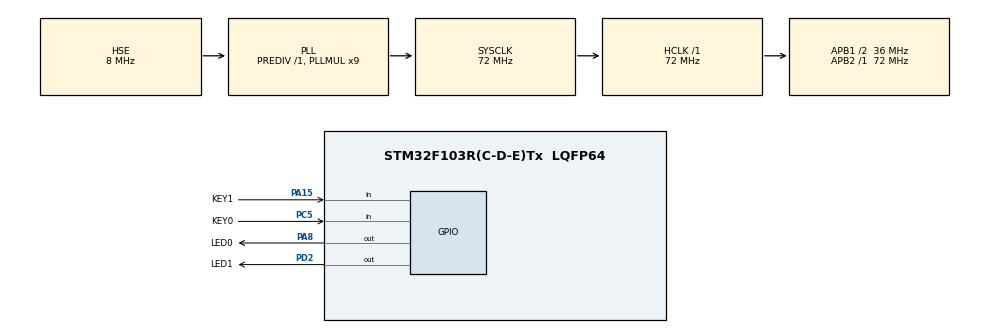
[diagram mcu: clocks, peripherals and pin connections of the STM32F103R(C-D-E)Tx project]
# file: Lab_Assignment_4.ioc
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Mcu.Family=STM32F1
Mcu.Name=STM32F103R(C-D-E)Tx
Mcu.Package=LQFP64
NVIC.PriorityGroup=NVIC_PRIORITYGROUP_4
NVIC.TIM2_IRQn=true\:0\:0\:false\:false\:true\:true\:true\:true
NVIC.TIM3_IRQn=true\:0\:0\:false\:false\:true\:true\:true\:true
NVIC.TIM5_IRQn=true\:0\:0\:false\:false\:true\:true\:true\:true
PA13.Mode=Serial_Wire
PA13.Signal=SYS_JTMS-SWDIO
PA14.Mode=Serial_Wire
PA14.Signal=SYS_JTCK-SWCLK
PA15.GPIO_Label=KEY1
PA15.GPIO_PuPd=GPIO_PULLUP
PA15.Signal=GPIO_Input
PA8.GPIO_Label=LED0
PA8.Signal=GPIO_Output
PC5.GPIO_Label=KEY0
PC5.GPIO_PuPd=GPIO_PULLUP
PC5.Signal=GPIO_Input
PD0-OSC_IN.Mode=HSE-External-Oscillator
PD0-OSC_IN.Signal=RCC_OSC_IN
PD1-OSC_OUT.Mode=HSE-External-Oscillator
PD1-OSC_OUT.Signal=RCC_OSC_OUT
PD2.GPIO_Label=LED1
PD2.Signal=GPIO_Output
ProjectManager.HeapSize=0x200
ProjectManager.StackSize=0x400
ProjectManager.TargetToolchain=STM32CubeIDE
RCC.AHBFreq_Value=72000000
RCC.APB1CLKDivider=RCC_HCLK_DIV2
RCC.APB1Freq_Value=36000000
RCC.APB1TimFreq_Value=72000000
RCC.APB2Freq_Value=72000000
RCC.APB2TimFreq_Value=72000000
RCC.HCLKFreq_Value=72000000
RCC.PLLMUL=RCC_PLL_MUL9
RCC.PLLSourceVirtual=RCC_PLLSOURCE_HSE
RCC.SYSCLKFreq_VALUE=72000000
RCC.SYSCLKSource=RCC_SYSCLKSOURCE_PLLCLK
RCC.USBFreq_Value=72000000
TIM2.Period=999
TIM2.Prescaler=7199
TIM3.Period=19999
TIM3.Prescaler=7199
TIM4.Period=65535
TIM4.Prescaler=71
TIM5.Period=9999
TIM5.Prescaler=7199
VP_TIM2_VS_ClockSourceINT.Mode=Internal
VP_TIM3_VS_ClockSourceINT.Mode=Internal
VP_TIM4_VS_ClockSourceINT.Mode=Internal
VP_TIM5_VS_ClockSourceINT.Mode=Internal
board=custom

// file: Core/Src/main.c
/* USER CODE BEGIN Header */
/**
  ******************************************************************************
  * @file           : main.c
  * @brief          : Main program body
  ******************************************************************************
  * @attention
  *
  * Copyright (c) 2024 STMicroelectronics.
  * All rights reserved.
  *
  * This software is licensed under terms that can be found in the LICENSE file
  * in the root directory of this software component.
  * If no LICENSE file comes with this software, it is provided AS-IS.
  *
  ******************************************************************************
  */
/* USER CODE END Header */
#include "main.h"
#include "tim.h"
#include "gpio.h"

/* USER CODE BEGIN Includes */
#include "lcd_v4.h"
#include "images.h"
#include "touch.h"
#include "24cxx.h"
#include <limits.h>
/* USER CODE END Includes */

/* USER CODE BEGIN PD */
#define LINE1 50
#define LINE2 100
#define LINE3 150
/* USER CODE END PD */

/* USER CODE BEGIN PV */
uint8_t mode = 0;
uint8_t mode_transition = 0;

uint16_t canvas_back[60][320];

int16_t canvas_speed = 120;
int16_t speed = 5;

int16_t x_main = 100;
int16_t y_main = 115;
int16_t x_main_last = 100;
int16_t x_main_dst = 100;
int16_t distance = 0;

int16_t x_bad_guy = 0;
int16_t y_bad_guy = 0;

uint16_t touch_index = 0;
uint16_t touch_index_last = 0;
uint16_t touch_list[50][2];
uint8_t scroll_active = 1;
uint8_t scroll_first = 1;
int8_t scroll_trend = 0;

uint8_t draw_usagi_now = 0;
uint8_t draw_canvas_now = 0;
uint8_t draw_finish_line_now = 0;
uint8_t update_timer = 0;

uint8_t up_pressed = 0;
uint8_t down_pressed = 0;
uint8_t jump_pressed = 0;

uint8_t going_up = 0;
uint8_t going_down = 0;
uint8_t jumping = 0;

uint8_t has_bad_guy = 0;

uint16_t sec_count = 0;

uint8_t hit = 0;

uint8_t end = 0;

/* USER CODE END PV */

void SystemClock_Config(void);

/* USER CODE BEGIN 0 */
void HAL_Delay_us(uint32_t us) {
	__HAL_TIM_SET_COUNTER(&htim4, 0);
	while (__HAL_TIM_GET_COUNTER(&htim4) < us);
}

void lcd_draw_point_ex(uint16_t x, uint16_t y, uint32_t color) {
	if (color == BLACK) {
		if (x > 58) {
			lcd_fast_draw_point(x, y, g_back_color);
		}
	} else {
		lcd_fast_draw_point(x, y, color);
	}
}

void lcd_show_time() {
	uint16_t x = 132, y = 300;
	lcd_show_char(x + 16, y, ':', 16, 0, BLACK);
	lcd_show_num(x, y, sec_count / 60, 2, 16, BLACK);
	if (sec_count / 60 < 10) {
	  lcd_show_num(x, y, 0, 1, 16, BLACK);
	}
	lcd_show_num(x + 24, y, sec_count % 60, 2, 16, BLACK);
	if (sec_count % 60 < 10) {
	  lcd_show_num(x + 24, y, 0, 1, 16, BLACK);
	}
}

void lcd_show_image(int16_t x, int16_t y, const uint8_t* image, uint8_t flip) {
	const uint8_t *pointer = image;
	int16_t width = (*(pointer + 3) << 8) | (*(pointer + 2));
	int16_t height = (*(pointer + 5) << 8) | (*(pointer + 4));
	pointer += 8;
	uint32_t color;
	if (flip == 1) {
		// [x, x + height)
		for (int16_t xx = x; xx < x + height; xx++) {
			// [y, y + width - 1]
			for (int16_t yy = y; yy < y + width; yy++) {
				if (yy >= 0 && yy < lcddev.height) {
					color = ((*(pointer + 1)) << 8) | (*pointer);
					lcd_draw_point_ex(xx, yy, color);
				}
				pointer += 2;
			}
		}
	} else {
		// [x, x + height)
		for (int16_t xx = x; xx < x + height; xx++) {
			// [y, y + width - 1]
			for (int16_t yy = y + width - 1; yy >= y; yy--) {
				if (yy >= 0 && yy < lcddev.height) {
					color = ((*(pointer + 1)) << 8) | (*pointer);
					lcd_draw_point_ex(xx, yy, color);
				}
				pointer += 2;
			}
		}
	}
}

void lcd_show_image_RLE(int16_t x, int16_t y, const uint8_t* image, uint8_t flip, uint8_t wrap_around) {
	const uint8_t *pointer = image;
	int16_t width = (*(pointer + 2) << 8) | *(pointer + 3);
	int16_t height = (*(pointer + 4) << 8) | *(pointer + 5);
	uint16_t color = 0;
	uint8_t count = 0;
	uint8_t repeating = 1;

	pointer += 6;

	int16_t x_start = x;
	int16_t x_end = x + height;
	int16_t x_step = 1;

	int16_t y_start = flip == 1 ? y : (y + width - 1);
	int16_t y_end = flip == 1? y + width : y;
	int16_t y_step = flip == 1? 1 : -1;

	uint8_t in_screen;

	for (int16_t xx = x_start; xx < x_end; xx += x_step) {
		set_cursor_x(xx);
		for (int16_t yy = y_start; (flip == 1? yy < y_end : yy >= y_end); yy += y_step) {
			in_screen = yy >= 0 && yy < lcddev.height;

			// new count value incoming
			if (count == 0) {
				// non-repeating sequence
				if ((*pointer | 0x7F) == 0xFF) {
					count = (*pointer & 0x7F);
					pointer++;		// move pointer to the next color value
					repeating = 0;
				}
				// repeating sequence
				else {
					count = *pointer;
					color = ((*(pointer + 1)) << 8) | *(pointer + 2);
					pointer += 3;	// move pointer to the start of next count value
					repeating = 1;
				}
			}

			if (repeating == 1) {
				if (in_screen) {
					set_cursor_y(yy);
					lcd_ram();
					if (color == BLACK) {
						if (xx > 58) {
							lcd_wr_data(g_back_color);

						} else {
							lcd_wr_data(canvas_back[xx][yy]);
						}
					} else {
						lcd_wr_data(color);
					}
				} else if (wrap_around) {
					set_cursor_y(((yy + lcddev.height) % lcddev.height));
					lcd_ram();
					if (color == BLACK) {
						if (xx > 58) {
							lcd_wr_data(g_back_color);

						} else {
							lcd_wr_data(canvas_back[xx][((yy + lcddev.height) % lcddev.height)]);
						}
					} else {
						lcd_wr_data(color);
					}
				}
				count--;
			} else {
				if (in_screen) {
					color = ((*pointer) << 8) | *(pointer + 1);
					set_cursor_y(yy);
					lcd_ram();
					if (color == BLACK) {
						if (xx > 58) {
							lcd_wr_data(g_back_color);
						} else {
							lcd_wr_data(canvas_back[xx][yy]);
						}
					} else {
						lcd_wr_data(color);
					}
				} else if (wrap_around) {
					color = ((*pointer) << 8) | *(pointer + 1);
					set_cursor_y(((yy + lcddev.height) % lcddev.height));
					lcd_ram();
					if (color == BLACK) {
						if (xx > 58) {
							lcd_wr_data(g_back_color);
						} else {
							lcd_wr_data(canvas_back[xx][((yy + lcddev.height) % lcddev.height)]);
						}
					} else {
						lcd_wr_data(color);
					}
				}
				pointer += 2;
				count--;
			}

		}
	}
}

void lcd_fill_ex(int16_t sx, int16_t sy, int16_t ex, int16_t ey, uint32_t color, uint8_t hide) {
    for (int16_t x = sx; x < ex; x++) {
        set_cursor_x(x % lcddev.width);
        for (int16_t y = sy; y < ey; y++) {
            int16_t wrapped_y = (y + lcddev.height) % lcddev.height;
			if (hide == 0 || (x_main != LINE2 || wrapped_y < y_main || wrapped_y > y_main + 60)) {
				set_cursor_y(wrapped_y);
				lcd_ram();
				lcd_wr_data(color);
			}
        }
    }
}

void draw_canvas() {
	static int16_t offset = 0;

	const uint8_t *pointer = mode == 0 ? canvas : sky;
	int16_t width = 320;
	int16_t height = 60;
	uint16_t color = 0;
	uint8_t count = 0;
	uint8_t repeating = 1;

	pointer += 6;

	uint8_t in_screen;

	for (int16_t xx = 0; xx < height; xx++) {
		set_cursor_x(xx);
		for (int16_t yy = offset + width - 1; yy >= offset; yy--) {
			in_screen = yy >= 0 && yy < lcddev.height;

			// new count value incoming
			if (count == 0) {
				// non-repeating sequence
				if ((*pointer | 0x7F) == 0xFF) {
					count = (*pointer & 0x7F);
					pointer++;		// move pointer to the next color value
					repeating = 0;
				}
				// repeating sequence
				else {
					count = *pointer;
					color = ((*(pointer + 1)) << 8) | *(pointer + 2);
					pointer += 3;	// move pointer to the start of next count value
					repeating = 1;
				}
			}

			uint16_t y_print = in_screen ? yy : ((yy + lcddev.height) % lcddev.height);
			if (repeating == 1) {
				if (canvas_back[xx][y_print] != color) {
					set_cursor_y(y_print);
					lcd_ram();
					lcd_wr_data(color);
					canvas_back[xx][y_print] = color;
				}
				count--;
			} else {
				color = ((*pointer) << 8) | *(pointer + 1);
				if (canvas_back[xx][y_print] != color) {
					set_cursor_y(y_print);
					lcd_ram();
					lcd_wr_data(color);
					canvas_back[xx][y_print] = color;
				}
				pointer += 2;
				count--;
			}
		}
	}

	if (mode == 0) {
		// use lcd_fill in a for loop to draw the black blocks
		static int16_t offset_track = 0;
		offset_track += 3 * speed;
		if (offset_track <= -320) {
			offset_track += 320;
		} else if (offset_track >= 320) {
			offset_track -= 320;
		}
		for (int16_t i = -20; i < 300; i += 20) {
			int16_t y_start = offset_track + i;
			int16_t y_end = offset_track + i + 20;
			uint32_t block_color = i % 40 == 0 ? BROWN : g_back_color;
			// draw the block by for loop
			lcd_fill_ex(125, y_start, 127, y_end, block_color, 1);
			lcd_fill_ex(175, y_start, 177, y_end, block_color, 0);
		}
	}

	offset += 3 * speed;
	if (offset <= -320) {
		offset += 320;
	} else if (offset >= 320) {
		offset -= 320;
	}
}

void draw_main() {
	uint8_t flip = speed > 0 ? 0 : 1;
	if (mode == 0) {
		if (jumping == 0) {
			if (speed >= 4 || speed <= -4) {
				static uint8_t run_state = 1;
				switch(run_state) {
					case 1:
						lcd_show_image_RLE(x_main, y_main, usagi_run_1, flip, 1);
						break;
					case 2:
						lcd_show_image_RLE(x_main, y_main, usagi_run_2, flip, 1);
						break;
					case 3:
						lcd_show_image_RLE(x_main, y_main, usagi_run_3, flip, 1);
						break;
					case 4:
						lcd_show_image_RLE(x_main, y_main, usagi_run_2, flip, 1);
						break;
				}
				run_state = run_state == 4 ? 1 : (run_state + 1);
			} else {
				static uint8_t walk_state = 1;
				switch(walk_state) {
					case 1:
						lcd_show_image_RLE(x_main, y_main, usagi_walk_1, flip, 1);
						break;
					case 2:
						lcd_show_image_RLE(x_main, y_main, usagi_walk_2, flip, 1);
						break;
					case 3:
						lcd_show_image_RLE(x_main, y_main, usagi_walk_3, flip, 1);
						break;
					case 4:
						lcd_show_image_RLE(x_main, y_main, usagi_walk_2, flip, 1);
						break;
				}
				walk_state = walk_state == 4 ? 1 : (walk_state + 1);
			}
		} else {
			lcd_show_image_RLE(x_main, y_main, usagi_jump, flip, 1);
		}
	} else {
		if (hit == 0) {
			static uint8_t fly_state = 1;
			if (fly_state == 1) {
				// clear the previous image
				lcd_fill(x_main - 13, y_main, x_main + 3, y_main + 65, g_back_color);
				lcd_show_image_RLE(x_main + 3, y_main, hachi_flying, flip, 1);
			} else if (fly_state == 2) {
				// clear the previous image
				lcd_fill(x_main + 67, y_main, x_main + 83, y_main + 65, g_back_color);
				lcd_show_image_RLE(x_main - 3, y_main, hachi_flying, flip, 1);
			}
			fly_state = fly_state == 1 ? 2 : 1;
		} else {
			lcd_show_image_RLE(x_main, y_main, hachi_hit, flip, 1);
		}

	}

	if (x_main_dst < x_main || (x_main_dst == x_main && x_main_last > x_main)) {
		// Clear Usagi's feet when going up
		lcd_fill(x_main + 70, y_main, x_main + 120, y_main + 65, g_back_color);
	} else if (x_main_dst > x_main || (x_main_dst == x_main && x_main_last < x_main)) {
		// Clear Usagi's ears when going down
		lcd_fill(((x_main - 20 < 58) ? 58 : (x_main - 20)), y_main, (x_main < 58 ? 58 : x_main), y_main + 60, g_back_color);
		if (x_main <= 50) {
			int16_t clear_air_x_start = x_main - 20 < 0 ? 0 : (x_main - 20);
			int16_t clear_air_x_end = x_main;
			int16_t clear_air_y_start = speed >= 0 ? (y_main + 28) : y_main;
			int16_t clear_air_y_end = speed >= 0 ? (y_main + 60) : (y_main + 30);
			for (uint16_t x = clear_air_x_start; x < clear_air_x_end; x++) {
				set_cursor_x(x);
				for (uint16_t y = clear_air_y_start; y < clear_air_y_end; y++) {
					if (x < 58) {
						set_cursor_y(y);
						lcd_ram();
						lcd_wr_data(canvas_back[x][y]);
					} else {
						set_cursor_y(y);
						lcd_ram();
						lcd_wr_data(g_back_color);
					}
				}
			}
		}
	}
	x_main_last = x_main;
}

void clear_bad_guy() {
	int16_t clear_y_start = (y_bad_guy - 20 < 0) ? 0 : (y_bad_guy - 20);
	int16_t clear_y_end = (y_bad_guy + 86 >= 320) ? 320 : (y_bad_guy + 86);
	for (int16_t x = x_bad_guy; x < x_bad_guy + 70; x++) {
		set_cursor_x(x);
		for (int16_t y = clear_y_start; y < clear_y_end; y++) {
			if (x < 58) {
				set_cursor_y(y);
				lcd_ram();
				lcd_wr_data(canvas_back[x][y]);
			} else {
				set_cursor_y(y);
				lcd_ram();
				lcd_wr_data(g_back_color);
			}
		}
	}
}

void draw_bad_guy() {
	if (y_bad_guy >= 321 || y_bad_guy < -64) {
		has_bad_guy = 0;
		if (y_bad_guy >= 321) {
			// fill the left side of the screen with black
			lcd_fill(x_bad_guy, 305, x_bad_guy + 60, 320, g_back_color);
		}
		y_bad_guy = 0;
		clear_bad_guy();
	} else {
		if (mode == 0) {
			lcd_show_image_RLE(x_bad_guy, y_bad_guy, witch, 0, 0);
		} else {
			lcd_show_image_RLE(x_bad_guy, y_bad_guy, spider, 0, 0);
		}
		if (speed > 0) {
			int16_t clear_y_start = (y_bad_guy - 15 < 0) ? 0 : (y_bad_guy - 15);
			for (int16_t x = x_bad_guy; x < x_bad_guy + 70; x++) {
				set_cursor_x(x);
				for (int16_t y = clear_y_start; y < y_bad_guy; y++) {
					if (x < 58) {
						set_cursor_y(y);
						lcd_ram();
						lcd_wr_data(canvas_back[x][y]);
					} else {
						set_cursor_y(y);
						lcd_ram();
						lcd_wr_data(g_back_color);
					}
				}
			}
		} else if (speed < 0) {
			int16_t clear_y_start;
			int16_t clear_y_end;
			if (mode == 1) {
				clear_y_start = (y_bad_guy + 45 >= 320) ? 320 : (y_bad_guy + 45);
				clear_y_end = (y_bad_guy + 86 >= 320) ? 320 : (y_bad_guy + 86);
			} else {
				clear_y_start = (y_bad_guy + 65 >= 320) ? 320 : (y_bad_guy + 65);
				clear_y_end = (y_bad_guy + 86 >= 320) ? 320 : (y_bad_guy + 86);
			}

			for (int16_t x = x_bad_guy; x < x_bad_guy + 70; x++) {
				set_cursor_x(x);
				for (int16_t y = clear_y_start; y < clear_y_end; y++) {
					if (x < 58) {
						set_cursor_y(y);
						lcd_ram();
						lcd_wr_data(canvas_back[x][y]);
					} else {
						set_cursor_y(y);
						lcd_ram();
						lcd_wr_data(g_back_color);
					}
				}
			}
		}
		y_bad_guy += 3 * speed;
	}
}

void draw_finish_line() {
	static int16_t offset = 0;
	static int16_t offset_last = 0;
	if (offset >= 100) {
		draw_finish_line_now = 0;
		offset = 0;
		end = 1;
		return;
	}
	if (mode == 0) {
		lcd_fill(60, offset, 240, offset + 4, RED);
	} else {
		lcd_fill(60, offset, 240, offset + 4, WHITE);
	}
	if (offset != 0) {
		lcd_fill(60, offset_last, 240, offset_last + 4, g_back_color);
	}
	offset_last = offset;
	offset += 3 * speed;
}

void clear_main() {
	// remove Usagi from the screen
	int16_t clear_x_start = (x_main - 20 < 0) ? 0 : (x_main - 20);
	int16_t clear_x_end = x_main + 120;
	int16_t clear_y_start = (y_main - 15 < 0) ? 0 : (y_main - 15);
	int16_t clear_y_end = y_main + 65 > 320 ? 320 : (y_main + 65);
	for (int16_t x = clear_x_start; x < clear_x_end; x++) {
		set_cursor_x(x);
		for (int16_t y = clear_y_start; y < clear_y_end; y++) {
			if (x < 58) {
				set_cursor_y(y);
				lcd_ram();
				lcd_wr_data(canvas_back[x][y]);
			} else {
				set_cursor_y(y);
				lcd_ram();
				lcd_wr_data(g_back_color);
			}
		}
	}
}

uint8_t hit_obstacle() {
    if (x_main + 50 < x_bad_guy + 30 || x_bad_guy + 50 < x_main + 30) {
    	return 0;
    }
    if (mode == 0) {
        if (y_main + 60 < y_bad_guy || y_bad_guy + 60 < y_main) {
        	return 0;
        }
	} else {
		if (y_main + 55 < y_bad_guy || y_bad_guy + 45 < y_main) {
			return 0;
		}
	}

    return 1;
}

/* USER CODE END 0 */

int main(void)
{

  /* MCU Configuration--------------------------------------------------------*/

  /* Reset of all peripherals, Initializes the Flash interface and the Systick. */
  HAL_Init();

  /* Configure the system clock */
  SystemClock_Config();

  /* Initialize all configured peripherals */
  MX_GPIO_Init();
  MX_TIM4_Init();
  MX_TIM3_Init();
  MX_TIM2_Init();
  MX_TIM5_Init();
  /* USER CODE BEGIN 2 */
  // TIM4 is used to generate delay in us
  HAL_TIM_Base_Start(&htim4);
  // TIM3 is a timer for inertia
  HAL_TIM_Base_Start_IT(&htim3);

  HAL_TIM_Base_Start_IT(&htim2);

  HAL_TIM_Base_Start_IT(&htim5);

  lcd_init();
  tp_dev.init();
  g_back_color = 0xf7bb;
  lcd_clear(g_back_color);

  mode = 0;

//  update_canvas();
//  draw_canvas();

  uint16_t y_button_base = 310;
  lcd_draw_rectangle(220, y_button_base - 50, 235, y_button_base, BLACK);
  lcd_draw_rectangle(220, y_button_base - 110, 235, y_button_base - 60, BLUE);
  lcd_draw_rectangle(220, y_button_base - 300, 235, y_button_base - 250, RED);
  lcd_draw_line(223, y_button_base - 25, 232, y_button_base - 10, BLACK);
  lcd_draw_line(232, y_button_base - 40, 223, y_button_base - 25, BLACK);
  lcd_draw_line(232, y_button_base - 85, 223, y_button_base - 70, BLUE);
  lcd_draw_line(223, y_button_base - 100, 232, y_button_base - 85, BLUE);
  uint16_t x_touch;
  uint16_t y_touch;

  /* USER CODE END 2 */

  /* Infinite loop */
  /* USER CODE BEGIN WHILE */
  while (1)
  {
	  static uint8_t key0_pressed = 0;
	  static uint8_t key1_pressed = 0;
		if (HAL_GPIO_ReadPin(KEY0_GPIO_Port, KEY0_Pin) == GPIO_PIN_RESET && key0_pressed == 0) {
			key0_pressed = 1;
			mode_transition = 1;
			mode = 0;
		} else if (HAL_GPIO_ReadPin(KEY1_GPIO_Port, KEY1_Pin) == GPIO_PIN_RESET && key1_pressed == 0) {
			key1_pressed = 1;
			mode_transition = 1;
			mode = 1;
		} else {
			mode_transition = 0;
			key0_pressed = 0;
			key1_pressed = 0;
		}
		if (mode_transition == 1) {
			if (mode == 0) {
				g_back_color = 0xf7bb;
			} else {
				g_back_color = 0xb71e;
			}
			has_bad_guy = 0;
			sec_count = 0;
			distance = 0;
			speed = 5;
			x_main = 100;
			y_main = 115;
			x_main_last = 100;
			x_main_dst = 100;
			x_bad_guy = 0;
			lcd_show_time();
			lcd_clear(g_back_color);
			// reset canvas_back
			for (int16_t i = 0; i < 60; i++) {
				for (int16_t j = 0; j < 320; j++) {
					canvas_back[i][j] = g_back_color;
				}
			}
			lcd_draw_rectangle(220, y_button_base - 50, 235, y_button_base, BLACK);
			lcd_draw_rectangle(220, y_button_base - 110, 235, y_button_base - 60, BLUE);
			lcd_draw_rectangle(220, y_button_base - 300, 235, y_button_base - 250, RED);
			  lcd_draw_line(223, y_button_base - 25, 232, y_button_base - 10, BLACK);
			  lcd_draw_line(232, y_button_base - 40, 223, y_button_base - 25, BLACK);
			  lcd_draw_line(232, y_button_base - 85, 223, y_button_base - 70, BLUE);
			  lcd_draw_line(223, y_button_base - 100, 232, y_button_base - 85, BLUE);
		}
		if (end == 1) {
			lcd_clear(g_back_color);
			lcd_show_string(0, 0, 240, 16, 16, "Game Over", BLACK);
			lcd_show_string(0, 20, 240, 16, 16, "Time (in seconds):", BLACK);
			lcd_show_num(140, 20, sec_count, 5, 16, BLACK);
			if (sec_count < 25) {
				lcd_show_string(0, 40, 240, 16, 16, "Very Fast!", BLACK);
			} else if (sec_count < 30) {
				lcd_show_string(0, 40, 240, 16, 16, "Not Bad!", BLACK);
			} else {
				lcd_show_string(0, 40, 240, 16, 16, "Too Slow", BLACK);
			}
			HAL_Delay(5000);
			end = 0;
			sec_count = 0;
			distance = 0;
			speed = 5;
			x_main = 100;
			y_main = 115;
			x_main_last = 100;
			x_main_dst = 100;
			y_bad_guy = 0;
			touch_index = 0;
			touch_index_last = 0;
			scroll_active = 1;
			scroll_first = 1;
			scroll_trend = 0;
			draw_usagi_now = 0;
			draw_canvas_now = 0;
			draw_finish_line_now = 0;
			update_timer = 0;
			up_pressed = 0;
			down_pressed = 0;
			jump_pressed = 0;
			going_up = 0;
			going_down = 0;
			jumping = 0;
			has_bad_guy = 0;
			hit = 0;
			// reset canvas_back
			for (int16_t i = 0; i < 60; i++) {
				for (int16_t j = 0; j < 320; j++) {
					canvas_back[i][j] = g_back_color;
				}
			}
			clear_main();
			clear_bad_guy();
			lcd_clear(g_back_color);
			lcd_draw_rectangle(220, y_button_base - 50, 235, y_button_base, BLACK);
			lcd_draw_rectangle(220, y_button_base - 110, 235, y_button_base - 60, BLUE);
			lcd_draw_rectangle(220, y_button_base - 300, 235, y_button_base - 250, RED);
			  lcd_draw_line(223, y_button_base - 25, 232, y_button_base - 10, BLACK);
			  lcd_draw_line(232, y_button_base - 40, 223, y_button_base - 25, BLACK);
			  lcd_draw_line(232, y_button_base - 85, 223, y_button_base - 70, BLUE);
			  lcd_draw_line(223, y_button_base - 100, 232, y_button_base - 85, BLUE);
		}
	  if (hit == 1) {
		  lcd_fill(x_main + 20, y_main + 60, x_main + 70, y_main + 90, g_back_color);
		  draw_main();
		  HAL_Delay(200);
		  clear_main();
		  HAL_Delay(200);
		  draw_main();
		  HAL_Delay(200);
		  clear_main();
		  HAL_Delay(200);
		  draw_main();
		  hit = 0;
	  }

	  if (draw_usagi_now == 1) {
		  draw_canvas();

		  distance += speed;
		  if (has_bad_guy == 0) {
			  x_bad_guy = (HAL_GetTick() % 3 + 1) * 50;
			  if (speed > 0) {
					y_bad_guy = -64;
				} else {
					y_bad_guy = 320;
			  }
			  has_bad_guy = 1;
		  }
		  if (x_main > x_bad_guy) {
			  if (has_bad_guy == 1) {
				  draw_bad_guy();
				  if (hit_obstacle() == 1 && jumping == 0) {
					  hit = 1;
					  speed = 0;
					  clear_bad_guy();
					  has_bad_guy = 0;
				  }
			  }
			  draw_main();
		  } else {
				draw_main();
				if (has_bad_guy == 1) {
					draw_bad_guy();
					if (hit_obstacle() == 1 && jumping == 0) {
						hit = 1;
						speed = 0;
						clear_bad_guy();
						has_bad_guy = 0;
					}
				}
		  }
			if (distance >= 600 && draw_finish_line_now == 0) {
				draw_finish_line_now = 1;
			}
			if (draw_finish_line_now == 1) {
				draw_finish_line();
			}
		  draw_usagi_now = 0;
	  }

	 if (update_timer == 1) {
	 	update_timer = 0;
	 	lcd_show_time();
	 }

	  // scan the touch
	  tp_dev.scan(0);
	  // if the screen is touched
	  if (tp_dev.sta & TP_PRES_DOWN) {
		  x_touch = tp_dev.x[0];
		  y_touch = tp_dev.y[0];
		  // if the touch coordinate is valid
		  if (x_touch < lcddev.width && y_touch < lcddev.height) {
			  // If this touch is different from the last one
			  if (touch_list[touch_index_last][0] != x_touch || touch_list[touch_index_last][1] != y_touch) {
//				  lcd_draw_point(x_touch, y_touch, RED);
				  // Record it in touch_list
				  touch_list[touch_index][0] = x_touch;
				  touch_list[touch_index][1] = y_touch;

				  // Scrolling
				  if (scroll_first == 1) {
					  scroll_first = 0;
				  } else if (scroll_active == 1) {

					  // If this touch is on the right of last touch
					  if (touch_list[touch_index_last][1] - y_touch > 1) {
						  if (scroll_trend < 0) {
							  scroll_trend = 0;
						  } else {
							  scroll_trend++;
							  if (scroll_trend == 6 - (speed > 0 ? speed : -speed)) {
								  HAL_GPIO_TogglePin(LED0_GPIO_Port, LED0_Pin);
								  __HAL_TIM_SET_COUNTER(&htim3, 0);
								  if (speed < 5) {
									  speed++;
								  }
								  scroll_active = 0;
								  scroll_first = 1;
								  scroll_trend = 0;
							  }
						  }

					  } else if (y_touch - touch_list[touch_index_last][1] > 1) {
						  if (scroll_trend > 0) {
							  scroll_trend = 0;
						  } else {
							  scroll_trend--;
							  if (scroll_trend == -6 + (speed > 0 ? speed : -speed)) {
								  __HAL_TIM_SET_COUNTER(&htim3, 0);
								  if (speed > -5) {
									  speed--;
								  }
								  scroll_active = 0;
								  scroll_first = 1;
								  scroll_trend = 0;
							  }
						  }

					  }
				  }

				  // Moving up
				  if (x_touch >= 215 && x_touch <= 235 && y_touch >= y_button_base - 50 && y_touch <= y_button_base) {
					  if (up_pressed == 0) {
						  lcd_fill(220, y_button_base - 50, 235, y_button_base, BLACK);
						  up_pressed = 1;
					  }
					  if (speed != 0 && (x_main == LINE2 || x_main == LINE3)) {
						  x_main_dst = x_main - 50;
						  going_up = 1;
					  } else if (x_main == LINE1) {
						  speed = 0;
						  hit = 1;
					  }
				  }

				  // Moving down
				  if (x_touch >= 215 && x_touch <= 235 && y_touch >= y_button_base - 110 && y_touch <= y_button_base - 60) {
					  if (down_pressed == 0) {
						  lcd_fill(220, y_button_base - 110, 235, y_button_base - 60, BLUE);
						  down_pressed = 1;
					  }
					  if (speed != 0 && (x_main == LINE1 || x_main == LINE2)) {
						  x_main_dst = x_main + 50;
						  going_down = 1;
						} else if (x_main == LINE3) {
							speed = 0;
							hit = 1;
						}
				  }

				  // Jump
				  if (x_touch >= 215 && x_touch <= 235 && y_touch >= y_button_base - 300 && y_touch <= y_button_base - 250) {
					  if (jump_pressed == 0) {
						  lcd_fill(220, y_button_base - 300, 235, y_button_base - 250, RED);
						  jump_pressed = 1;
					  }
					  if (speed != 0 && jumping == 0 && (x_main == LINE1 || x_main == LINE2 || x_main == LINE3)) {
						  x_main_dst = x_main - 50;
						  jumping = 1;
					  }
				  }

				  touch_index_last = touch_index;
				  touch_index = (touch_index == 49) ? 0 : (touch_index + 1);
			  }
		  }
	  } else { // if the screen is not touched
		  scroll_active = 1;
		  scroll_first = 1;
		  scroll_trend = 0;
		  if (up_pressed == 1) {
			  lcd_fill(220, y_button_base - 50, 235, y_button_base, g_back_color);
			  lcd_draw_rectangle(220, y_button_base - 50, 235, y_button_base, BLACK);
			  // draw an upper arrow by drawing 2 lines
			  lcd_draw_line(223, y_button_base - 25, 232, y_button_base - 10, BLACK);
			  lcd_draw_line(232, y_button_base - 40, 223, y_button_base - 25, BLACK);
			  up_pressed = 0;
		  }
		  if (down_pressed == 1) {
			  lcd_fill(220, y_button_base - 110, 235, y_button_base - 60, g_back_color);
			  lcd_draw_rectangle(220, y_button_base - 110, 235, y_button_base - 60, BLUE);
			  // draw a down arrow by drawing 2 lines
			  lcd_draw_line(232, y_button_base - 85, 223, y_button_base - 70, BLUE);
			  lcd_draw_line(223, y_button_base - 100, 232, y_button_base - 85, BLUE);
			  down_pressed = 0;
		  }
		  if (jump_pressed == 1) {
			  lcd_fill(220, y_button_base - 300, 235, y_button_base - 250, g_back_color);
			  lcd_draw_rectangle(220, y_button_base - 300, 235, y_button_base - 250, RED);
			  jump_pressed = 0;
		  }
	  }

	  int16_t speed_abs;
	  if (speed < 0) {
		  speed_abs = -speed;
		  lcd_show_char(190, 300, '-', 16, 0, BLUE);
	  } else {
		  lcd_show_char(190, 300, ' ', 16, 0, BLUE);
		  speed_abs = speed;
	  }
	  lcd_show_num(200, 300, speed_abs, 1, 16, BLUE);
//	  lcd_show_num(170, 300, jumping, 1, 16, RED);
//	  lcd_show_num(120, 0, x_main, 3, 16, BLUE);
//	  lcd_show_num(150, 0, y_main, 3, 16, BLUE);
    /* USER CODE END WHILE */

  }
}

void SystemClock_Config(void)
{
  RCC_OscInitTypeDef RCC_OscInitStruct = {0};
  RCC_ClkInitTypeDef RCC_ClkInitStruct = {0};

  /** Initializes the RCC Oscillators according to the specified parameters
  * in the RCC_OscInitTypeDef structure.
  */
  RCC_OscInitStruct.OscillatorType = RCC_OSCILLATORTYPE_HSE;
  RCC_OscInitStruct.HSEState = RCC_HSE_ON;
  RCC_OscInitStruct.HSEPredivValue = RCC_HSE_PREDIV_DIV1;
  RCC_OscInitStruct.HSIState = RCC_HSI_ON;
  RCC_OscInitStruct.PLL.PLLState = RCC_PLL_ON;
  RCC_OscInitStruct.PLL.PLLSource = RCC_PLLSOURCE_HSE;
  RCC_OscInitStruct.PLL.PLLMUL = RCC_PLL_MUL9;
  if (HAL_RCC_OscConfig(&RCC_OscInitStruct) != HAL_OK)
  {
    Error_Handler();
  }

  /** Initializes the CPU, AHB and APB buses clocks
  */
  RCC_ClkInitStruct.ClockType = RCC_CLOCKTYPE_HCLK|RCC_CLOCKTYPE_SYSCLK
                              |RCC_CLOCKTYPE_PCLK1|RCC_CLOCKTYPE_PCLK2;
  RCC_ClkInitStruct.SYSCLKSource = RCC_SYSCLKSOURCE_PLLCLK;
  RCC_ClkInitStruct.AHBCLKDivider = RCC_SYSCLK_DIV1;
  RCC_ClkInitStruct.APB1CLKDivider = RCC_HCLK_DIV2;
  RCC_ClkInitStruct.APB2CLKDivider = RCC_HCLK_DIV1;

  if (HAL_RCC_ClockConfig(&RCC_ClkInitStruct, FLASH_LATENCY_2) != HAL_OK)
  {
    Error_Handler();
  }
}

void Error_Handler(void)
{
  __disable_irq();
  while (1)
  {
  }
}
